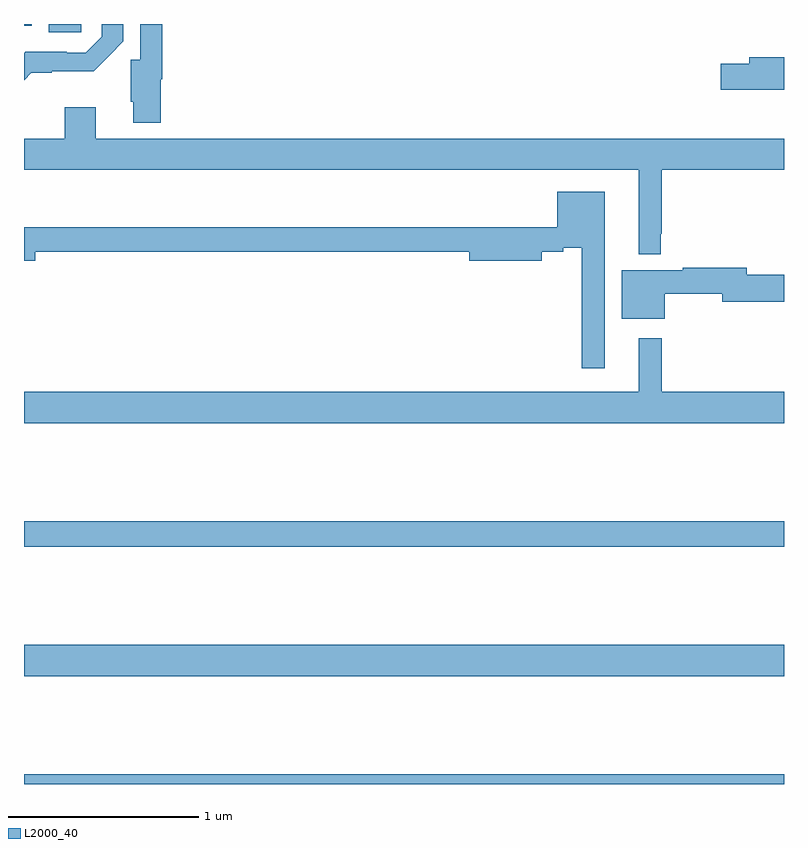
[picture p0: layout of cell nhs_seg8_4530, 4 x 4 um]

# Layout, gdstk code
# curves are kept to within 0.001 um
import gdstk
lib = gdstk.Library(unit=1e-6, precision=1e-09)
def R(c, l, rs):  # rectangles x0, y0, x1, y1
    for r in rs: c.add(gdstk.rectangle(r[:2], r[2:], *l))
def P(c, l, *ps):  # polygons
    for p in ps: c.add(gdstk.Polygon(p, *l))
L2000_40 = (2000, 40)

nhs_seg8_4530 = lib.new_cell('nhs_seg8_4530')
R(nhs_seg8_4530, L2000_40, [(385,1147.9,389,1147.952), (385,1148.468,389,1148.632), (385,1149.148,389,1149.284), (385.13,1151.856,385.3,1151.9), (385,1151.892,385.042,1151.9)])
P(nhs_seg8_4530, L2000_40, [(385.721,1151.609),(385.727,1151.609),(385.727,1151.9),(385.611,1151.9),(385.611,1151.712),(385.562,1151.712),(385.562,1151.491),(385.574,1151.491),(385.574,1151.381),(385.721,1151.381)],
  [(385.039,1151.643),(385.147,1151.643),(385.147,1151.651),(385.367,1151.651),(385.522,1151.808),(385.522,1151.9),(385.41,1151.9),(385.41,1151.832),(385.326,1151.748),(385.226,1151.748),(385.226,1151.753),(385.007,1151.753),(385,1151.746),(385,1151.604)],
  [(389,1151.726),(388.817,1151.726),(388.817,1151.69),(388.668,1151.69),(388.668,1151.555),(389,1151.555)],
  [(388.35,1150.795),(388.357,1150.795),(388.357,1151.132),(389,1151.132),(389,1151.296),(385.378,1151.296),(385.378,1151.461),(385.214,1151.461),(385.214,1151.296),(385,1151.296),(385,1151.132),(388.235,1151.132),(388.235,1150.688),(388.35,1150.688)],
  [(388.057,1151.017),(387.806,1151.017),(387.806,1150.831),(385,1150.831),(385,1150.655),(385.06,1150.655),(385.06,1150.702),(387.344,1150.702),(387.344,1150.655),(387.724,1150.655),(387.724,1150.702),(387.839,1150.702),(387.839,1150.722),(387.936,1150.722),(387.936,1150.089),(388.057,1150.089)],
  [(388.372,1150.48),(388.676,1150.48),(388.676,1150.438),(389,1150.438),(389,1150.58),(388.804,1150.58),(388.804,1150.616),(388.468,1150.616),(388.468,1150.603),(388.145,1150.603),(388.145,1150.349),(388.372,1150.349)],
  [(389,1149.964),(388.357,1149.964),(388.357,1150.246),(388.235,1150.246),(388.235,1149.964),(385,1149.964),(385,1149.8),(389,1149.8)])

lib.write_gds('nhs_seg8_4530.gds')
